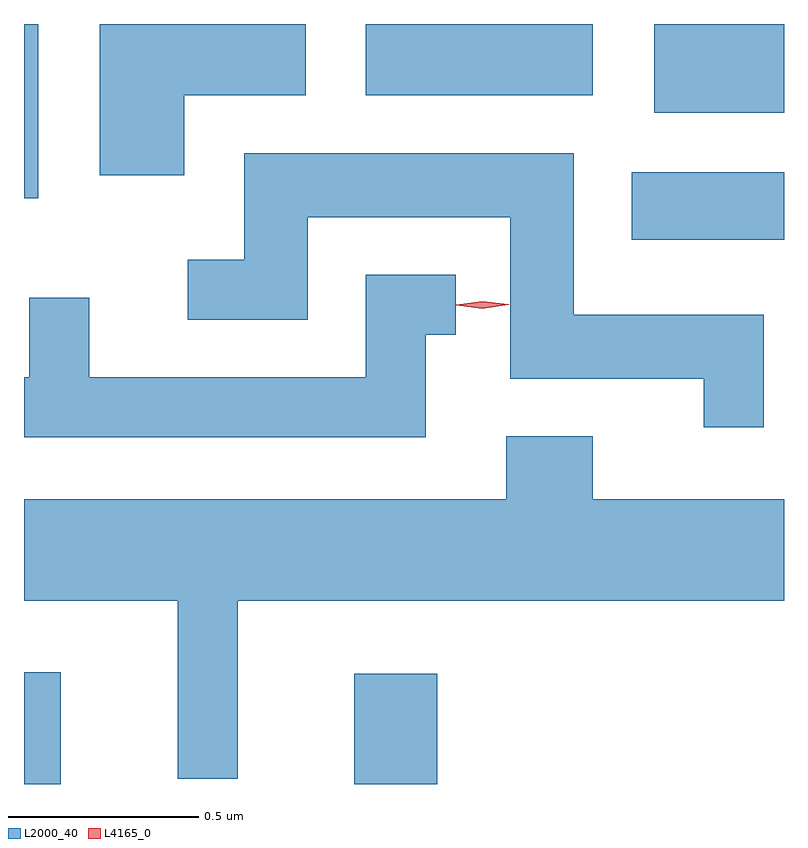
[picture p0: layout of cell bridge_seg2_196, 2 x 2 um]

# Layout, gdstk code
import gdstk
lib = gdstk.Library(unit=1e-6, precision=1e-09)
def R(c, l, rs):  # rectangles x0, y0, x1, y1
    for r in rs: c.add(gdstk.rectangle(r[:2], r[2:], *l))
def P(c, l, *ps):  # polygons
    for p in ps: c.add(gdstk.Polygon(p, *l))
L2000_40 = (2000, 40)
L4165_0 = (4165, 0)

bridge_seg2_196 = lib.new_cell('bridge_seg2_196')
R(bridge_seg2_196, L2000_40, [(676.542,1030.074,676.639,1030.368), (677.411,1030.074,677.629,1030.364), (678.141,1031.506,678.542,1031.684), (676.542,1031.616,676.579,1032.074), (678.201,1031.841,678.542,1032.074), (677.441,1031.886,678.039,1032.074)])
P(bridge_seg2_196, L2000_40, [(676.964,1031.886),(677.284,1031.886),(677.284,1032.074),(676.741,1032.074),(676.741,1031.676),(676.964,1031.676)],
  [(678.489,1031.309),(677.989,1031.309),(677.989,1031.734),(677.121,1031.734),(677.121,1031.454),(676.973,1031.454),(676.973,1031.296),(677.289,1031.296),(677.289,1031.566),(677.821,1031.566),(677.821,1031.141),(678.331,1031.141),(678.331,1031.013),(678.489,1031.013)],
  [(677.599,1031.256),(677.678,1031.256),(677.678,1031.414),(677.441,1031.414),(677.441,1031.144),(676.714,1031.144),(676.714,1031.353),(676.556,1031.353),(676.556,1031.144),(676.542,1031.144),(676.542,1030.986),(677.599,1030.986)],
  [(677.104,1030.556),(678.542,1030.556),(678.542,1030.824),(678.039,1030.824),(678.039,1030.989),(677.811,1030.989),(677.811,1030.824),(676.542,1030.824),(676.542,1030.556),(676.946,1030.556),(676.946,1030.088),(677.104,1030.088)])
P(bridge_seg2_196, L4165_0, [(677.748,1031.325),(677.679,1031.334),(677.679,1031.335),(677.679,1031.335),(677.748,1031.345),(677.818,1031.336),(677.818,1031.336),(677.818,1031.335)])

lib.write_gds('bridge_seg2_196.gds')
